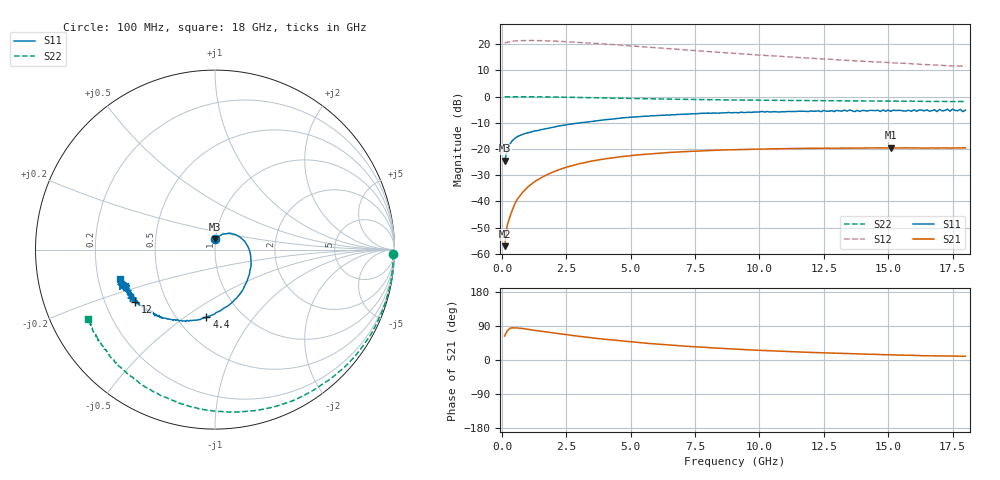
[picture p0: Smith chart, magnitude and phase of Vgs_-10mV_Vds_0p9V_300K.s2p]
#  HZ  S  DB  R  50.00
! Rohde & Schwarz ZVA50 4Ports - Version 4.11 - 1145.1110k52 SN: 100136
! Date: 2022-09-20 22:20:21
! Measurements: S11 S21 S12 S22
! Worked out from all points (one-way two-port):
!   180 points, 100 MHz to 18 GHz, reference 50 ohm
!   highest |S21| = -19.55 dB at 15.1 GHz (marker M1); lowest = -57.1 dB at 100 MHz (marker M2)
!   lowest |S11| = -24.5 dB at 100 MHz (marker M3), VSWR 1.13, Z = 49.5 + j5.9 ohm
!   |S11| at or under -10 dB: start of sweep to 3.037 GHz
!   |S22| runs from -1.9 to 0.0 dB; largest |S21 - S12| = 12
!   S11 on the Smith chart (normalised r, x): 100 MHz: 0.99, +0.12; 4.4 GHz: 0.69, -0.61; 12 GHz: 0.33, -0.27; 18 GHz: 0.29, -0.14
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1e8  -24.52 91.7  -57.10 63.4  20.52 -178.3  -0.08 -1.4
2e8  -20.61 65.0  -49.18 76.7  20.74 -178.1  -0.07 -3.3
3e8  -18.24 48.6  -46.07 83.6  20.98 -178.8  -0.04 -5.2
6e8  -15.25 14.8  -39.08 84.6  21.35 177.2  -0.03 -10.6
1.1e9  -13.59 -16.7  -33.72 80.1  21.44 171.1  -0.06 -19.5
1.5e9  -12.66 -33.8  -31.07 76.2  21.37 166.3  -0.10 -26.4
1.9e9  -11.86 -47.8  -29.15 72.4  21.24 161.9  -0.14 -33.3
2.5e9  -10.74 -64.0  -26.95 66.9  20.95 156.0  -0.24 -43.0
3.1e9  -9.92 -76.2  -25.42 61.6  20.62 150.6  -0.36 -51.9
3.8e9  -9.09 -89.0  -24.08 56.1  20.22 144.5  -0.47 -62.2
4.4e9  -8.43 -97.2  -23.21 52.0  19.79 139.9  -0.59 -70.1
5.3e9  -7.68 -107.4  -22.24 46.1  19.14 133.7  -0.77 -80.7
6.1e9  -7.20 -114.4  -21.60 41.6  18.56 129.0  -0.90 -89.0
7.6e9  -6.47 -126.3  -20.78 34.5  17.46 121.1  -1.12 -102.7
9.1e9  -6.11 -133.4  -20.21 28.6  16.49 114.9  -1.28 -113.6
1.01e10  -5.65 -138.7  -20.05 25.4  15.77 111.0  -1.39 -120.1
1.2e10  -5.47 -146.8  -19.76 19.9  14.63 104.9  -1.50 -130.3
1.21e10  -5.60 -146.0  -19.74 19.8  14.57 104.7  -1.54 -130.5
1.34e10  -5.59 -150.8  -19.66 16.9  13.85 101.1  -1.63 -136.3
1.51e10  -5.62 -152.4  -19.55 14.1  13.01 97.4  -1.69 -142.2
1.58e10  -5.20 -156.8  -19.61 12.4  12.59 95.1  -1.77 -145.6
1.8e10  -5.15 -162.8  -19.56 9.9  11.57 91.5  -1.86 -151.3
